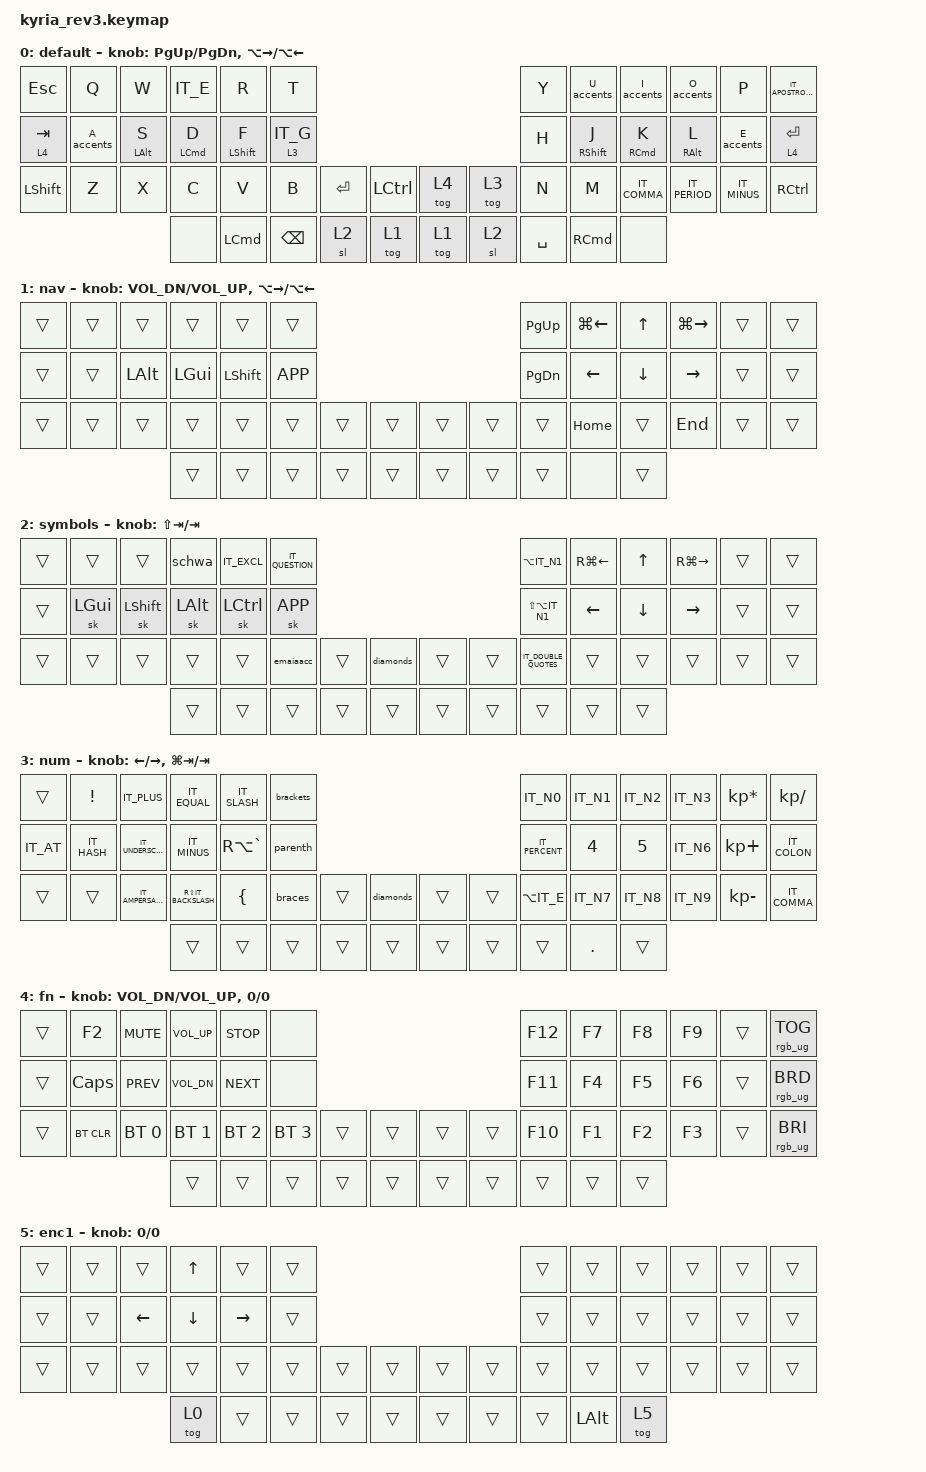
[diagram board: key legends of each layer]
#include "keys_it.h"
#include <behaviors.dtsi>
#include <dt-bindings/zmk/bt.h>
#include <dt-bindings/zmk/keys.h>
#include <dt-bindings/zmk/rgb.h>

/*
* Uncomment this block if using RGB
*/

&led_strip {
    chain-length = <6>;

    // chain-length = <31>; // Uncomment if using both per-key and underglow LEDs
    // chain-length = <25>; // Uncomment if using only per-key LEDs.
};

#define BASE 0
#define ENC2 1
#define ENC3 2
#define FNC  3
#define NUM  4
#define NAV  5
#define OSL 6
#define PTAB LC(PG_UP)
#define NTAB LC(PG_DN)
#define NWIN LA(TAB)
#define PWIN LS(LA(TAB))
#define XSLV LA(LC(V))
#define PDESK LC(LG(RIGHT))
#define NDESK LC(LG(LEFT))
#define LR_DOWN LA(DOWN)
#define LR_UP LA(UP)

&nice_view_spi {
    cs-gpios = <&pro_micro 0 GPIO_ACTIVE_HIGH>;  // use D0 (008) for CS niceview + rgb
};

&left_encoder { resolution = <2>; };

&sk { release-after-ms = <1000>; };

&sl { release-after-ms = <1000>; };

/ {
    behaviors {
        // hm: homerow_mods {
        //   compatible = "zmk,behavior-hold-tap";
        //   label = "HOMEROW_MODS";
        //   #binding-cells = <2>;
        //   tapping_term_ms = <200>;
        //   flavor = "tap-preferred";
        //   bindings = <&kp>, <&cp>;
        // };

        hm: homerow_mods {
            compatible = "zmk,behavior-hold-tap";
            label = "homerow mods";
            #binding-cells = <2>;
            tapping_term_ms = <220>;
            flavor = "balanced";
            bindings = <&kp>, <&kp>;
        };

        mx: layer_tap_osl {
            compatible = "zmk,behavior-hold-tap";
            label = "LAYER_TAP_OSL";
            #binding-cells = <2>;
            flavor = "hold-preferred";
            tapping_term_ms = <200>;
            bindings = <&mo>, <&sl>;
        };

        E_accents: E_accents {
            compatible = "zmk,behavior-tap-dance";
            label = "E_ACCENTS";
            #binding-cells = <0>;
            bindings = <&kp IT_E_GRAVE>, <&kp IT_E_ACUTE>;
        };

        A_accents: A_accents {
            compatible = "zmk,behavior-tap-dance";
            label = "A_ACCENTS";
            #binding-cells = <0>;
            bindings = <&kp A>, <&kp IT_A_GRAVE>;
        };

        U_accents: U_accents {
            compatible = "zmk,behavior-tap-dance";
            label = "U_ACCENTS";
            #binding-cells = <0>;
            bindings = <&kp IT_U>, <&kp IT_U_GRAVE>;
        };

        I_accents: I_accents {
            compatible = "zmk,behavior-tap-dance";
            label = "I_ACCENTS";
            #binding-cells = <0>;
            bindings = <&kp I>, <&kp IT_I_GRAVE>;
        };

        O_accents: O_accents {
            compatible = "zmk,behavior-tap-dance";
            label = "O_ACCENTS";
            #binding-cells = <0>;
            bindings = <&kp O>, <&kp IT_O_GRAVE>;
        };

        diamonds: diamonds {
            compatible = "zmk,behavior-tap-dance";
            label = "DIAMONDS";
            #binding-cells = <0>;
            bindings = <&kp GRAVE>, <&kp LS(GRAVE)>;
        };

        brackets: brackets {
            compatible = "zmk,behavior-tap-dance";
            label = "BRACKETS";
            #binding-cells = <0>;
            bindings = <&kp IT_LEFT_BRACKET>, <&kp IT_RIGHT_BRACKET>;
        };

        parenth: parenth {
            compatible = "zmk,behavior-tap-dance";
            label = "PARENTH";
            #binding-cells = <0>;
            bindings = <&kp IT_LEFT_PARENTHESIS>, <&kp IT_RIGHT_PARENTHESIS>;
        };

        braces: braces {
            compatible = "zmk,behavior-tap-dance";
            label = "BRACES";
            #binding-cells = <0>;
            bindings = <&kp IT_LEFT_BRACE>, <&kp IT_RIGHT_BRACE>;
        };
    };

    macros {
        emaiaacc: emaiuscolaaccentata {
            compatible = "zmk,behavior-macro";
            #binding-cells = <0>;
            bindings = <&sk LS(LEFT_ALT) &kp IT_E>;
            label = "EMAIUSCOLAACCENTATA";
        };

        schwa: schwa {
            compatible = "zmk,behavior-macro";
            #binding-cells = <0>;
            bindings = <&sk IT_E &kp IT_N3>;
            label = "SCHWA";
        };
    };

    keymap {
        compatible = "zmk,keymap";

        default {
            // ---------------------------------------------------------------------------------------------------------------------------------
            // |  ESC  |  Q  |  W  |  E   |  R   |  T   |                                          |  Y   |  U    |  I    |  O   |   P   | bksp |
            // | TAB/FN|  A  |  S  |  D   |  F   |  G   |                                          |  H   |  J    |  K    |  L   |   '   |ent/fn|
            // | SHIFT |  Z  |  X  |  C   |  V   |  B   | &ext_power EP_ON     |  ctrl   |  |   ctrl  |  blank  |  N   |  M    |  ,    |  .   |   /   |shft/;|
            //                     | ENC  |Alt/En| Ctrl |  Nav    |   del   |  |   bksp  |  num    | spc  | Iso   | ENC2  |

            bindings = <
&kp ESC    &kp Q       &kp W           &kp IT_E    &kp R             &kp T                                              &kp Y      &U_accents         &I_accents    &O_accents       &kp P         &kp IT_APOSTROPHE
&lt 4 TAB  &A_accents  &hm LEFT_ALT S  &hm LCMD D  &hm LEFT_SHIFT F  &lt 3 IT_G                                         &kp H      &hm RIGHT_SHIFT J  &hm RCMD K    &hm RIGHT_ALT L  &E_accents    &lt 4 RET
&kp LSHFT  &kp Z       &kp X           &kp C       &kp V             &kp B          &kp RET  &kp LCTRL  &tog 4  &tog 3  &kp N      &kp M              &kp IT_COMMA  &kp IT_PERIOD    &kp IT_MINUS  &kp RCTRL
                                       &none       &kp LCMD          &kp BACKSPACE  &sl 2    &tog 1     &tog 1  &sl 2   &kp SPACE  &kp RCMD           &none
            >;

            sensor-bindings =
                <&inc_dec_kp PG_UP PG_DN>,
                <&inc_dec_kp LA(RIGHT_ARROW) LA(LEFT_ARROW)>;
        };

        nav {
            // ---------------------------------------------------------------------------------------------------------------------------------
            // | ---  | Tab-| Tab+| win+ | win- | excel|                                          | Pgup | Home |  Up   | End  | ScrUp | ---  |
            // | ---  | Win | Shft| alt  | ctrl | app  |                                          | Pgdw | Left |  Down | Right| ScrDn | ---  |
            // | ---  | --- | F2  | F3   | F5   | excel|   ---   |  ---    |  |   ---   |  ---    |      | Predk| ---   | NxDk |   -   |---   |
            //                    | ENC  | ---  | ---  |   ---   |  ---    |  |   ---   |  ---    | ---  | ---  | ---   |

            bindings = <
&trans  &trans  &trans        &trans        &trans          &trans                                     &kp PG_UP  &kp LG(LEFT_ARROW)  &kp UP    &kp LG(RIGHT)  &trans  &trans
&trans  &trans  &kp LEFT_ALT  &kp LEFT_GUI  &kp LEFT_SHIFT  &kp K_APP                                  &kp PG_DN  &kp LEFT            &kp DOWN  &kp RIGHT      &trans  &trans
&trans  &trans  &trans        &trans        &trans          &trans     &trans  &trans  &trans  &trans  &trans     &kp HOME            &trans    &kp END        &trans  &trans
                              &trans        &trans          &trans     &trans  &trans  &trans  &trans  &trans     &none               &trans
            >;

            sensor-bindings =
                <&inc_dec_cp C_VOL_DN C_VOL_UP>,
                <&inc_dec_kp LA(RIGHT) LA(LEFT_ARROW)>;
        };

        symbols {
            bindings = <
&trans  &trans    &trans     &schwa    &kp IT_EXCL  &kp IT_QUESTION                                     &kp LA(IT_N1)         &kp RG(LEFT_ARROW)  &kp UP_ARROW    &kp RG(RIGHT_ARROW)  &trans  &trans
&trans  &sk LGUI  &sk LSHFT  &sk LALT  &sk LCTRL    &sk K_APP                                           &kp LS(LA(IT_N1))     &kp LEFT_ARROW      &kp DOWN_ARROW  &kp RIGHT_ARROW      &trans  &trans
&trans  &trans    &trans     &trans    &trans       &emaiaacc        &trans  &diamonds  &trans  &trans  &kp IT_DOUBLE_QUOTES  &trans              &trans          &trans               &trans  &trans
                             &trans    &trans       &trans           &trans  &trans     &trans  &trans  &trans                &trans              &trans
            >;

            sensor-bindings = <&inc_dec_kp LS(TAB) TAB>;
        };

        num {
            // ---------------------------------------------------------------------------------------------------------------------------------
            // | `     |  !  |  +  |  [   |  ]   |  =   |                                          |  %   |  7    |  8    |  9   |   *   | /    |
            // | #     |  @  |  _  |  (   |  )   |  -   |                                          |  $   |  4    |  5    |  6   |   +   | ---  |
            // | ~     |  \  |  &  |  {   |  }   |  |   |   ---   |  ---    |  |   ---   |  ---    |  ^   |  1    |  2    |  3   |   -   | ---  |
            //                     | ENC  | ---  | ---  |   ---   |  ---    |  |   ---   |  ---    | ---  | ---   | ---   |

            bindings = <
&trans     &kp EXCL     &kp IT_PLUS        &kp IT_EQUAL          &kp IT_SLASH    &brackets                                     &kp IT_N0       &kp IT_N1  &kp IT_N2  &kp IT_N3  &kp KP_MULTIPLY  &kp KP_DIVIDE
&kp IT_AT  &kp IT_HASH  &kp IT_UNDERSCORE  &kp IT_MINUS          &kp RA(GRAVE)   &parenth                                      &kp IT_PERCENT  &kp N4     &kp N5     &kp IT_N6  &kp KP_PLUS      &kp IT_COLON
&trans     &trans       &kp IT_AMPERSAND   &kp RS(IT_BACKSLASH)  &kp LEFT_BRACE  &braces    &trans  &diamonds  &trans  &trans  &kp LA(IT_E)    &kp IT_N7  &kp IT_N8  &kp IT_N9  &kp KP_MINUS     &kp IT_COMMA
                                           &trans                &trans          &trans     &trans  &trans     &trans  &trans  &trans          &kp DOT    &trans
            >;

            sensor-bindings =
                <&inc_dec_kp LEFT RIGHT>,
                <&inc_dec_kp LG(TAB) TAB>;
        };

        fn {
            // ---------------------------------------------------------------------------------------------------------------------------------
            // | none  |  F2 | mute| V+   | stp  |   @  |                                       | F12  |  F7   |  F8   |  F9  | Print| none |
            // | none  | caps| Prev| V-   | Next |   @p |                                       | F11  |  F4   |  F5   |  F6  | Ins  | none |
            // | none  | /Ble| Ble0| Ble1 | Ble2 | Ble3 |  Ble4  |  ---    |  |   ---   |  ---  | F10  |  F1   |  F2   |  F3  | ---  | none |
            //                     | ---  | ---  | ---  |  ---   |  ---    |  |   ---   |  ---  | ---  | ---   | ---   |

            bindings = <
&trans  &kp F2      &kp C_MUTE    &kp C_VOL_UP  &kp C_STOP    &none                                         &kp F12  &kp F7  &kp F8  &kp F9  &trans  &rgb_ug RGB_TOG
&trans  &kp CAPS    &kp C_PREV    &kp C_VOL_DN  &kp C_NEXT    &none                                         &kp F11  &kp F4  &kp F5  &kp F6  &trans  &rgb_ug RGB_BRD
&trans  &bt BT_CLR  &bt BT_SEL 0  &bt BT_SEL 1  &bt BT_SEL 2  &bt BT_SEL 3  &trans  &trans  &trans  &trans  &kp F10  &kp F1  &kp F2  &kp F3  &trans  &rgb_ug RGB_BRI
                                  &trans        &trans        &trans        &trans  &trans  &trans  &trans  &trans   &trans  &trans
            >;

            sensor-bindings =
                <&inc_dec_cp C_VOL_DN C_VOL_UP>,
                <&inc_dec_kp 0 0>;
        };

        enc1 {
            bindings = <
&trans  &trans  &trans          &kp UP    &trans     &trans                                  &trans  &trans    &trans  &trans  &trans  &trans
&trans  &trans  &kp LEFT_ARROW  &kp DOWN  &kp RIGHT  &trans                                  &trans  &trans    &trans  &trans  &trans  &trans
&trans  &trans  &trans          &trans    &trans     &trans  &trans  &trans  &trans  &trans  &trans  &trans    &trans  &trans  &trans  &trans
                                &tog 0    &trans     &trans  &trans  &trans  &trans  &trans  &trans  &kp LALT  &tog 5
            >;

            sensor-bindings = <&inc_dec_kp 0 0>;
        };
    };
};
